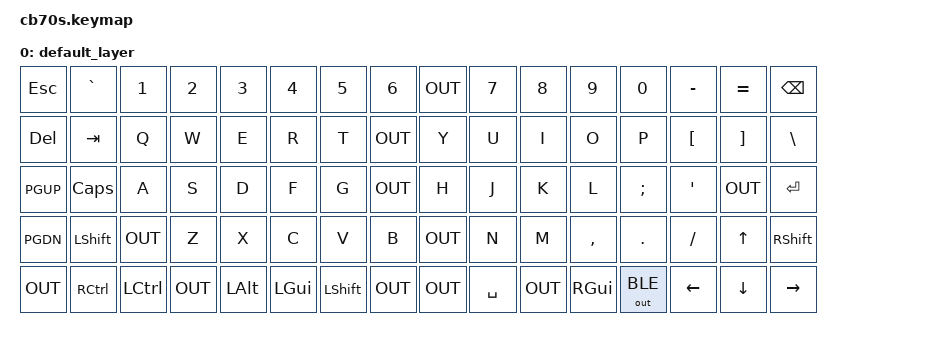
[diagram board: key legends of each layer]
#include <behaviors.dtsi>
#include <dt-bindings/zmk/keys.h>
#include <dt-bindings/zmk/outputs.h>

#define DEFAULT 0


#define CMDR(usage) &ch LG(usage) usage
#define OPTR(usage) &ch LA(usage) usage



/ {
	behaviors {
		ch: cmd_hold {
			compatible = "zmk,behavior-hold-tap";
			label = "CMD_HOLD";
			#binding-cells = <2>;
			tapping-term-ms = <200>;
			quick_tap_ms = <0>;
			flavor = "tap-preferred";
			bindings = <&kp>, <&kp>;
		};
		hm: homerow_mods {
			compatible = "zmk,behavior-hold-tap";
			label = "HOMEROW_MODS";
			#binding-cells = <2>;
			tapping-term-ms = <150>;
			quick-tap-ms = <0>;
			flavor = "tap-preferred";
			bindings = <&kp>, <&kp>;
		};
	};
	
	keymap {
		compatible = "zmk,keymap";
		default_layer {

			bindings = <
			&kp ESC   &kp GRAVE   &kp N1     &kp N2   &kp N3    &kp N4    &kp N5      &kp N6          &kp OUT  &kp N7     &kp N8   &kp N9     &kp N0    &kp MINUS  &kp EQUAL  &kp BSPC
			&kp DEL   &kp TAB     &kp Q      &kp W    &kp E     &kp R     &kp T       &kp OUT         &kp Y    &kp U      &kp I    &kp O      &kp P     &kp LBKT   &kp RBKT   &kp BSLH
			&kp PGUP  &kp CAPS    &kp A      &kp S    &kp D     &kp F     &kp G       &kp OUT         &kp H    &kp J      &kp K    &kp L      &kp SEMI  &kp SQT    &kp OUT    &kp RET
			&kp PGDN  &kp LSHIFT  &kp OUT    &kp Z    &kp X     &kp C     &kp V       &kp B           &kp OUT  &kp N      &kp M    &kp COMMA  &kp DOT   &kp FSLH   &kp UP     &kp RSHIFT
			&kp OUT   &kp RCTRL   &kp LCTRL  &kp OUT  &kp LALT  &kp LGUI  &kp LSHIFT  &kp OUT         &kp OUT  &kp SPACE  &kp OUT  &kp RGUI   &out OUT_BLE  &kp LEFT   &kp DOWN   &kp RIGHT  
			>;
		};	
	};
};




